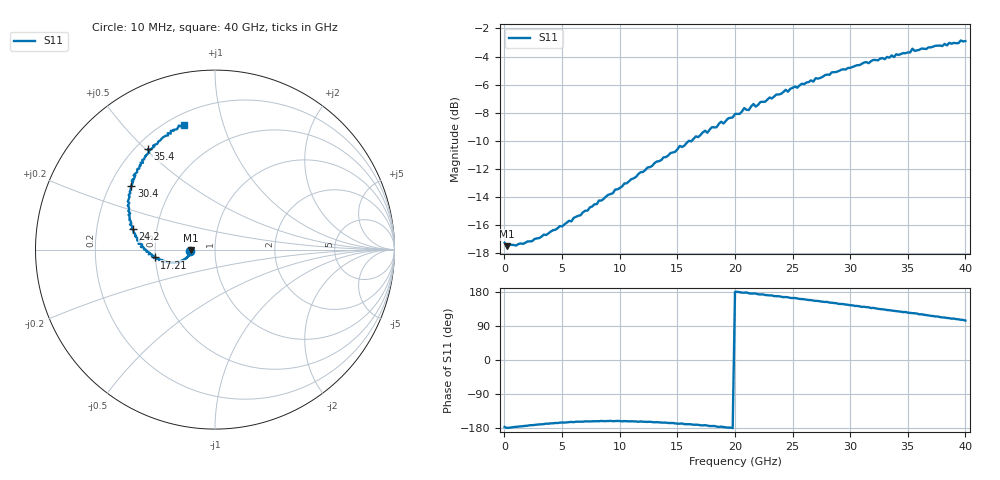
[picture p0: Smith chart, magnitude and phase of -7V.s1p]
!Agilent Technologies,N5227A,US51270434,A.10.00.00
!Agilent N5227A: A.10.00.00
!Date: Monday, January 26, 2026 17:35:43
!Correction: S11(Full 1 Port(1))
!S1P File: Measurement: S11:
# Hz S  dB  R 50
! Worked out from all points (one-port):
!   201 points, 10 MHz to 40 GHz, reference 50 ohm
!   lowest |S11| = -17.5 dB at 209.9 MHz (marker M1), VSWR 1.31, Z = 38.2 - j0.127 ohm
!   |S11| at or under -10 dB: start of sweep to 15.99 GHz; 16.05 GHz to 16.24 GHz (196.1 MHz wide, 1.21 % of centre)
!   S11 on the Smith chart (normalised r, x): 10 MHz: 0.76, -0.01; 17.21 GHz: 0.50, -0.05; 24.2 GHz: 0.36, +0.11; 30.4 GHz: 0.29, +0.31; 35.4 GHz: 0.25, +0.51; 40 GHz: 0.26, +0.75
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1e7  -17.24 -176.7
2.0995e8  -17.49 -179.3
2.4094e9  -17.13 -172.0
5.00875e9  -16.08 -165.0
1.00075e10  -13.35 -161.1
1.260685e10  -11.86 -163.0
1.500625e10  -10.60 -168.0
1.72057e10  -9.40 -172.6
1.76056e10  -9.42 -173.0
2.0005e10  -8.08 180.0
2.24044e10  -7.21 173.3
2.420395e10  -6.52 165.9
2.500375e10  -6.23 163.5
2.8003e10  -5.28 153.3
3.00025e10  -4.80 144.5
3.04024e10  -4.67 142.8
3.16021e10  -4.47 139.1
3.180205e10  -4.33 137.0
3.2002e10  -4.24 137.6
3.24019e10  -4.27 135.2
3.48013e10  -3.76 126.7
3.500125e10  -3.70 124.9
3.540115e10  -3.44 123.7
3.56011e10  -3.59 123.3
3.740065e10  -3.23 114.9
3.88003e10  -3.09 109.1
3.900025e10  -3.03 109.2
4e10  -2.90 104.1
